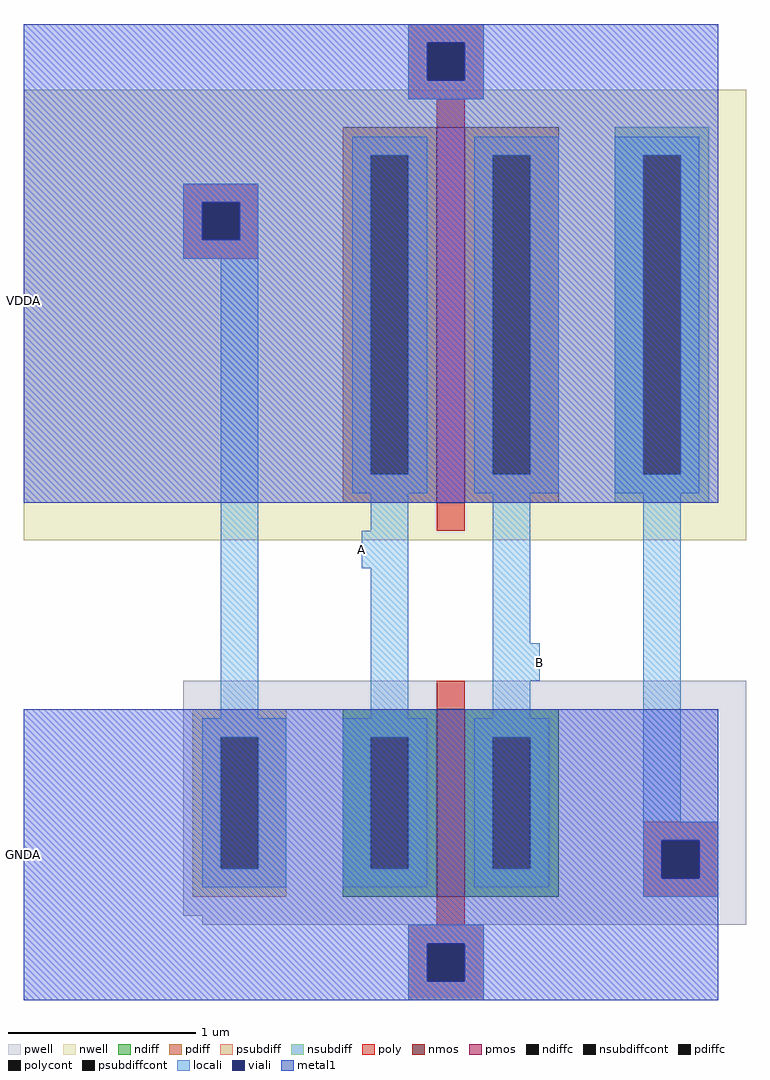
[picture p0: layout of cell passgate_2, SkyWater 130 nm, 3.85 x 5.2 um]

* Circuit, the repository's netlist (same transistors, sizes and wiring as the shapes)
* NGSPICE file created from passgate_2.ext - technology: sky130A

.subckt passgate_2
X0 B GNDA A VDDA sky130_fd_pr__nfet_01v8 ad=0.5 pd=3 as=0.5 ps=3 w=1 l=0.15
X1 B VDDA A GNDA sky130_fd_pr__pfet_01v8 ad=1 pd=5 as=1 ps=5 w=2 l=0.15
.ends

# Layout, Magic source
magic
tech sky130A
<< nwell >>
rect 480 190 865 430
<< pwell >>
rect 565 -10 865 115
rect 575 -15 865 -10
<< nmos >>
rect 700 0 715 100
<< pmos >>
rect 700 210 715 410
<< ndiff >>
rect 650 85 700 100
rect 650 15 665 85
rect 685 15 700 85
rect 650 0 700 15
rect 715 85 765 100
rect 715 15 730 85
rect 750 15 765 85
rect 715 0 765 15
<< pdiff >>
rect 650 395 700 410
rect 650 225 665 395
rect 685 225 700 395
rect 650 210 700 225
rect 715 395 765 410
rect 715 225 730 395
rect 750 225 765 395
rect 715 210 765 225
<< ndiffc >>
rect 665 15 685 85
rect 730 15 750 85
<< pdiffc >>
rect 665 225 685 395
rect 730 225 750 395
<< psubdiff >>
rect 570 85 620 100
rect 570 15 585 85
rect 605 15 620 85
rect 570 0 620 15
<< nsubdiff >>
rect 795 395 845 410
rect 795 225 810 395
rect 830 225 845 395
rect 795 210 845 225
<< psubdiffcont >>
rect 585 15 605 85
<< nsubdiffcont >>
rect 810 225 830 395
<< poly >>
rect 685 455 725 465
rect 685 435 695 455
rect 715 435 725 455
rect 685 425 725 435
rect 700 410 715 425
rect 565 370 605 380
rect 565 350 575 370
rect 595 350 605 370
rect 565 340 605 350
rect 700 195 715 210
rect 700 100 715 115
rect 810 30 850 40
rect 810 10 820 30
rect 840 10 850 30
rect 810 0 850 10
rect 700 -15 715 0
rect 685 -25 725 -15
rect 685 -45 695 -25
rect 715 -45 725 -25
rect 685 -55 725 -45
<< polycont >>
rect 695 435 715 455
rect 575 350 595 370
rect 820 10 840 30
rect 695 -45 715 -25
<< locali >>
rect 685 455 725 465
rect 685 435 695 455
rect 715 435 725 455
rect 685 425 725 435
rect 655 395 695 405
rect 565 370 605 380
rect 565 350 575 370
rect 595 350 605 370
rect 565 340 605 350
rect 585 95 605 340
rect 655 225 665 395
rect 685 225 695 395
rect 655 215 695 225
rect 720 395 765 405
rect 720 225 730 395
rect 750 225 765 395
rect 720 215 765 225
rect 795 395 840 405
rect 795 225 810 395
rect 830 225 840 395
rect 795 215 840 225
rect 665 195 685 215
rect 660 175 685 195
rect 665 95 685 175
rect 730 135 750 215
rect 730 115 755 135
rect 730 95 750 115
rect 575 85 620 95
rect 575 15 585 85
rect 605 15 620 85
rect 575 5 620 15
rect 650 85 695 95
rect 650 15 665 85
rect 685 15 695 85
rect 650 5 695 15
rect 720 85 760 95
rect 720 15 730 85
rect 750 15 760 85
rect 720 5 760 15
rect 810 40 830 215
rect 810 30 850 40
rect 810 10 820 30
rect 840 10 850 30
rect 810 0 850 10
rect 685 -25 725 -15
rect 685 -45 695 -25
rect 715 -45 725 -25
rect 685 -55 725 -45
<< viali >>
rect 695 435 715 455
rect 575 350 595 370
rect 820 10 840 30
rect 695 -45 715 -25
<< metal1 >>
rect 480 455 850 465
rect 480 435 695 455
rect 715 435 850 455
rect 480 370 850 435
rect 480 350 575 370
rect 595 350 850 370
rect 480 210 850 350
rect 480 30 850 100
rect 480 10 820 30
rect 840 10 850 30
rect 480 -25 850 10
rect 480 -45 695 -25
rect 715 -45 850 -25
rect 480 -55 850 -45
<< labels >>
flabel metal1 480 315 480 320 7 FreeSans 400 0 -80 0 VDDA
flabel metal1 480 20 480 25 7 FreeSans 400 0 -80 0 GNDA
flabel locali 660 185 660 185 7 FreeSans 400 0 -80 0 A
flabel locali 755 125 755 125 3 FreeSans 400 0 80 0 B
<< end >>
